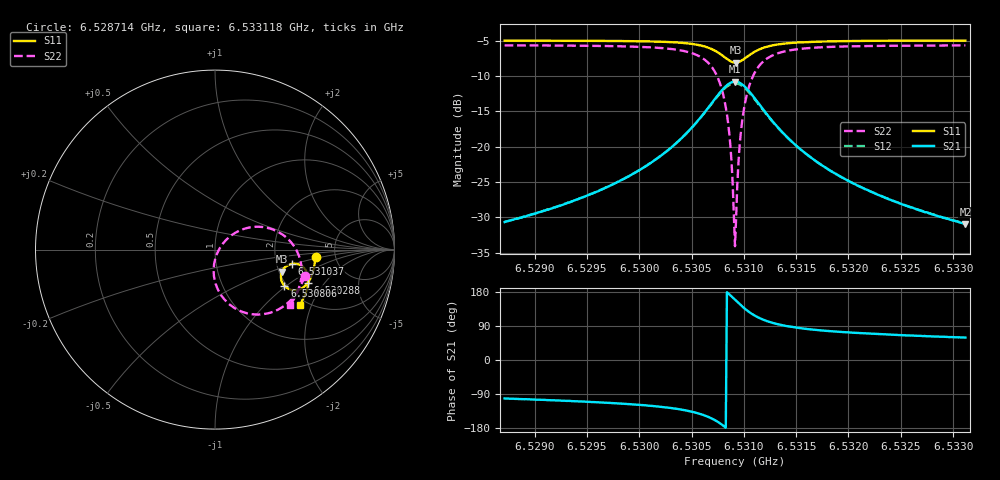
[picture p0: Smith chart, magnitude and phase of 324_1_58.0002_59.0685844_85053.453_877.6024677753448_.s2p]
#  HZ  S  RI  R  50.00
! Rohde & Schwarz Vector Network Analyzer
! Rohde-Schwarz,ZNB20-2Port,1311601062101988,3.16
! Created: UTC 3/21/2024, 1:04:49 AM
! freq[Hz]  re:S11  im:S11  re:S21  im:S21  re:S12  im:S12  re:S22  im:S22
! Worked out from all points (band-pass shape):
!   401 points, 6.528714 GHz to 6.533118 GHz, reference 50 ohm
!   highest |S21| = -10.80 dB at 6.530916 GHz (marker M1); lowest = -30.9 dB at 6.533118 GHz (marker M2)
!   |S21| within 3 dB of the highest: 6.530696 GHz to 6.531136 GHz (440.6 kHz wide, 0.00675 % of centre)
!   lowest |S11| = -8.1 dB at 6.530927 GHz (marker M3), VSWR 2.29, Z = 103 - j30.3 ohm
!   |S11| at or under -10 dB: nowhere
!   |S22| runs from -34.1 to -5.7 dB; largest |S21 - S12| = 0.011
!   S11 on the Smith chart (normalised r, x): 6.528714 GHz: 3.50, -0.43; 6.530288 GHz: 2.61, -1.39; 6.530806 GHz: 1.94, -0.96; 6.531037 GHz: 2.43, -0.48; 6.533118 GHz: 1.83, -1.65
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6.5287137e9  0.56 -0.0422  -0.00575 -0.0287  -0.00642 -0.0287  0.4994 -0.1465
6.5294513e9  0.551 -0.1029  -0.0145 -0.0411  -0.0154 -0.0407  0.4711 -0.2137
6.530189e9  0.5246 -0.1741  -0.046 -0.0706  -0.0478 -0.0696  0.3948 -0.3064
6.5302881e9  0.5168 -0.1856  -0.0566 -0.0775  -0.0589 -0.076  0.3717 -0.3227
6.5306404e9  0.4539 -0.2252  -0.1528 -0.0957  -0.1552 -0.0898  0.1889 -0.3569
6.5307395e9  0.4152 -0.221  -0.2132 -0.0725  -0.2129 -0.0638  0.0859 -0.3094
6.5308056e9  0.3863 -0.201  -0.2562 -0.0282  -0.2522 -0.0189  0.019 -0.228
6.5308386e9  0.3748 -0.1839  -0.2719 0.00558  -0.2656 0.0143  -0.00208 -0.1692
6.5308606e9  0.3696 -0.1701  -0.2777 0.0319  -0.27 0.0396  -0.00755 -0.1245
6.5308716e9  0.3681 -0.1625  -0.2788 0.046  -0.2705 0.053  -0.00725 -0.1013
6.5308936e9  0.3675 -0.147  -0.2769 0.0745  -0.2677 0.08  0.000753 -0.0543
6.5309047e9  0.3683 -0.1391  -0.2739 0.0888  -0.2642 0.0935  0.00785 -0.0311
6.5309157e9  0.3703 -0.1314  -0.2693 0.1029  -0.2596 0.1067  0.0176 -0.00896
6.5309267e9  0.3729 -0.1237  -0.2634 0.1164  -0.2536 0.1193  0.0294 0.0124
6.5309707e9  0.3908 -0.0983  -0.2286 0.1618  -0.2196 0.1614  0.094 0.0814
6.5310037e9  0.4088 -0.086  -0.1952 0.1839  -0.1879 0.1819  0.1526 0.1124
6.5310368e9  0.4278 -0.0797  -0.1609 0.1955  -0.1551 0.1928  0.2115 0.1261
6.5311138e9  0.4664 -0.0831  -0.0932 0.1936  -0.0901 0.1911  0.3254 0.1108
6.5312239e9  0.4989 -0.1054  -0.036 0.1641  -0.0345 0.1628  0.4183 0.0469
6.5316533e9  0.5206 -0.1811  0.0138 0.0811  0.0149 0.081  0.4829 -0.1292
6.532391e9  0.5007 -0.2539  0.0165 0.0389  0.0172 0.0388  0.4556 -0.2444
6.5331176e9  0.4727 -0.3071  0.0145 0.0244  0.015 0.0242  0.4204 -0.3066
